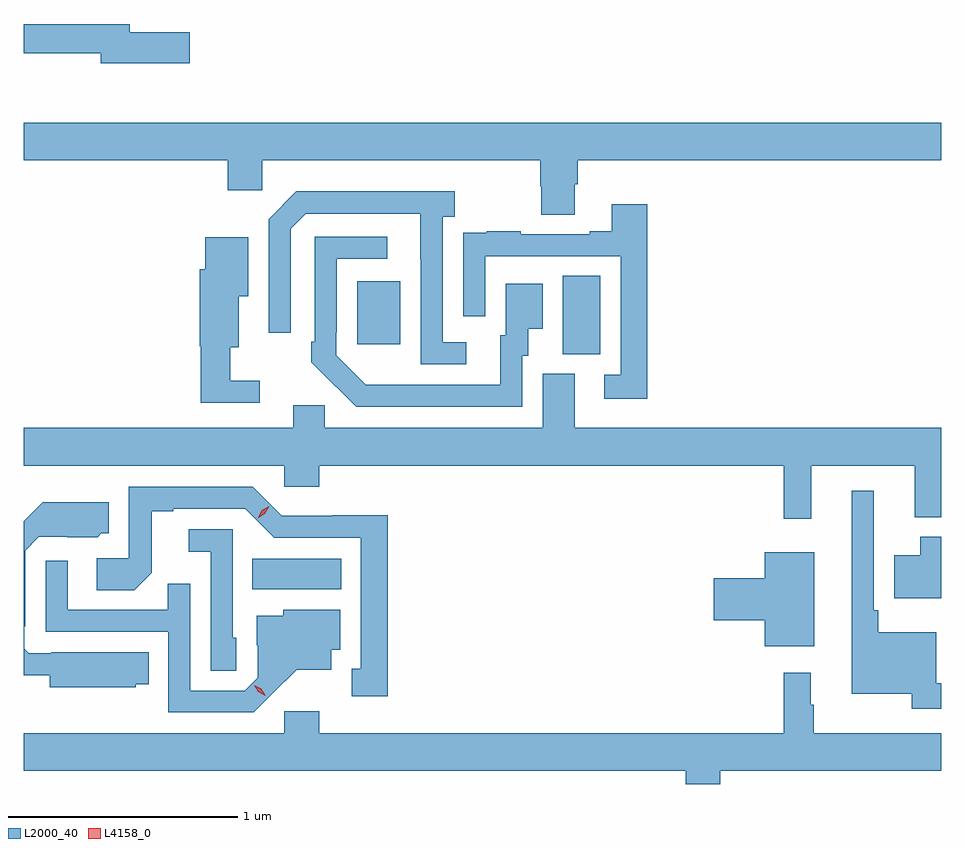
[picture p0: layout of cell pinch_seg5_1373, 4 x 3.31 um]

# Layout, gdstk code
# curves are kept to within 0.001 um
import gdstk
lib = gdstk.Library(unit=1e-6, precision=1e-09)
def R(c, l, rs):  # rectangles x0, y0, x1, y1
    for r in rs: c.add(gdstk.rectangle(r[:2], r[2:], *l))
def P(c, l, *ps):  # polygons
    for p in ps: c.add(gdstk.Polygon(p, *l))
L2000_40 = (2000, 40)
L4158_0 = (4158, 0)

pinch_seg5_1373 = lib.new_cell('pinch_seg5_1373')
R(pinch_seg5_1373, L2000_40, [(156.016,906.836,156.403,906.97), (157.37,907.861,157.534,908.204), (156.473,907.905,156.661,908.179)])
P(pinch_seg5_1373, L2000_40, [(155.743,909.266),(155.482,909.266),(155.482,909.302),(155.02,909.302),(155.02,909.174),(155.354,909.174),(155.354,909.131),(155.743,909.131)],
  [(157.423,908.602),(157.436,908.602),(157.436,908.708),(159.02,908.708),(159.02,908.872),(155.02,908.872),(155.02,908.708),(155.909,908.708),(155.909,908.577),(156.06,908.577),(156.06,908.708),(157.271,908.708),(157.271,908.595),(157.276,908.595),(157.276,908.47),(157.423,908.47)],
  [(156.949,907.914),(156.846,907.914),(156.846,908.462),(156.898,908.462),(156.898,908.572),(156.208,908.572),(156.087,908.451),(156.087,907.956),(156.183,907.956),(156.183,908.409),(156.249,908.475),(156.749,908.475),(156.75,907.818),(156.949,907.818)],
  [(157.739,908.515),(157.583,908.515),(157.583,908.398),(157.487,908.398),(157.487,908.385),(157.187,908.385),(157.187,908.398),(157.039,908.398),(157.039,908.391),(156.937,908.391),(156.937,908.282),(156.936,908.282),(156.936,908.028),(157.032,908.028),(157.032,908.289),(157.623,908.289),(157.623,907.773),(157.551,907.773),(157.551,907.668),(157.739,907.668)],
  [(157.194,907.854),(157.219,907.854),(157.219,907.973),(157.282,907.973),(157.282,908.17),(157.121,908.17),(157.121,907.944),(157.097,907.944),(157.097,907.728),(156.51,907.729),(156.381,907.857),(156.381,907.957),(156.384,907.957),(156.384,908.277),(156.604,908.277),(156.604,908.373),(156.288,908.373),(156.288,907.915),(156.273,907.915),(156.273,907.827),(156.47,907.632),(157.194,907.632)],
  [(156.049,907.747),(155.92,907.747),(155.92,907.892),(155.956,907.892),(155.956,908.114),(155.998,908.114),(155.998,908.371),(155.81,908.371),(155.81,908.232),(155.786,908.232),(155.786,907.896),(155.791,907.896),(155.791,907.65),(156.049,907.65)],
  [(158.453,907.376),(158.906,907.376),(158.906,907.151),(159.02,907.151),(159.02,907.54),(157.423,907.54),(157.423,907.776),(157.283,907.776),(157.283,907.54),(156.333,907.54),(156.333,907.638),(156.194,907.638),(156.194,907.54),(155.02,907.54),(155.02,907.376),(156.156,907.376),(156.156,907.283),(156.308,907.283),(156.308,907.376),(158.335,907.376),(158.335,907.143),(158.453,907.143)],
  [(156.607,907.16),(156.366,907.16),(156.366,907.158),(156.144,907.158),(156.018,907.284),(155.478,907.284),(155.478,906.972),(155.337,906.972),(155.337,906.832),(155.501,906.832),(155.577,906.908),(155.577,907.176),(155.671,907.176),(155.671,907.188),(155.985,907.188),(156.111,907.062),(156.488,907.062),(156.488,906.489),(156.449,906.489),(156.449,906.369),(156.607,906.369)],
  [(159.02,906.427),(159,906.427),(159,906.649),(158.747,906.649),(158.747,906.745),(158.727,906.745),(158.727,907.267),(158.63,907.267),(158.63,906.38),(158.892,906.38),(158.892,906.315),(159.02,906.315)],
  [(155.508,906.422),(155.564,906.422),(155.564,906.562),(155.14,906.562),(155.14,906.558),(155.04,906.558),(155.022,906.576),(155.022,906.676),(155.025,906.676),(155.025,907.005),(155.085,907.065),(155.342,907.064),(155.358,907.08),(155.389,907.08),(155.389,907.216),(155.101,907.216),(155.02,907.134),(155.02,906.461),(155.132,906.461),(155.132,906.41),(155.508,906.41)],
  [(155.946,906.624),(155.931,906.624),(155.931,907.098),(155.739,907.098),(155.739,907.001),(155.835,907.001),(155.835,906.481),(155.946,906.481)],
  [(159.02,907.066),(158.93,907.066),(158.93,906.985),(158.816,906.985),(158.816,906.797),(159.02,906.797)],
  [(158.467,906.997),(158.252,906.997),(158.252,906.884),(158.028,906.884),(158.028,906.701),(158.252,906.701),(158.252,906.587),(158.467,906.587)],
  [(156.106,906.383),(156.209,906.485),(156.361,906.485),(156.361,906.572),(156.4,906.572),(156.4,906.748),(156.15,906.748),(156.15,906.721),(156.035,906.721),(156.035,906.592),(156.039,906.592),(156.039,906.45),(155.982,906.393),(155.745,906.393),(155.745,906.86),(155.647,906.86),(155.647,906.747),(155.211,906.747),(155.211,906.961),(155.115,906.961),(155.115,906.651),(155.649,906.651),(155.649,906.3),(156.022,906.3)],
  [(158.058,906.044),(159.02,906.044),(159.02,906.208),(158.464,906.208),(158.464,906.332),(158.452,906.332),(158.452,906.472),(158.335,906.472),(158.335,906.208),(156.308,906.208),(156.308,906.304),(156.156,906.304),(156.156,906.208),(155.02,906.208),(155.02,906.044),(157.907,906.044),(157.907,905.987),(158.058,905.987)])
P(pinch_seg5_1373, L4158_0, [(156.039,907.147),(156.039,907.147),(156.057,907.18),(156.089,907.198),(156.089,907.198),(156.089,907.198),(156.071,907.166),(156.04,907.147)],
  [(156.072,906.373),(156.041,906.389),(156.024,906.418),(156.024,906.418),(156.024,906.418),(156.055,906.403),(156.072,906.374),(156.072,906.373)])

lib.write_gds('pinch_seg5_1373.gds')
